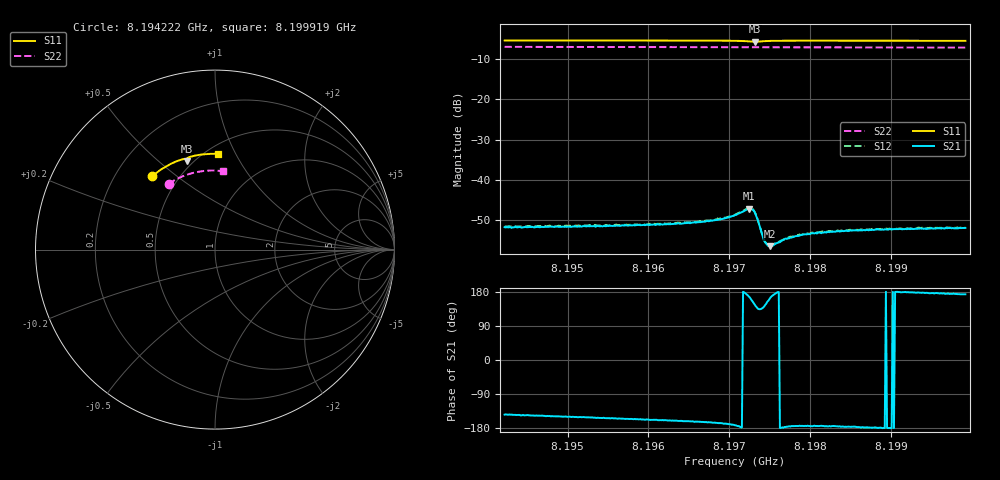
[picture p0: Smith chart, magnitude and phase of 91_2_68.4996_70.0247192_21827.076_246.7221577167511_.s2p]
#  HZ  S  RI  R  50.00
! Rohde & Schwarz Vector Network Analyzer
! Rohde-Schwarz,ZNB20-2Port,1311601062101988,3.16
! Created: UTC 3/20/2024, 4:52:39 PM
! freq[Hz]  re:S11  im:S11  re:S21  im:S21  re:S12  im:S12  re:S22  im:S22
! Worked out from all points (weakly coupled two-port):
!   401 points, 8.194222 GHz to 8.199919 GHz, reference 50 ohm
!   highest |S21| = -47.17 dB at 8.197241 GHz (marker M1); lowest = -56.5 dB at 8.197498 GHz (marker M2)
!   lowest |S11| = -5.7 dB at 8.197313 GHz (marker M3), VSWR 3.15, Z = 23.1 + j31.2 ohm
!   |S11| at or under -10 dB: nowhere
!   |S22| runs from -7.2 to -7.0 dB; largest |S21 - S12| = 0.00024
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8.1942223e9  -0.3517 0.408  -0.0021 -0.00152  -0.00219 -0.00149  -0.2583 0.3668
8.1951764e9  -0.2975 0.4482  -0.0023 -0.00127  -0.00237 -0.00121  -0.2123 0.3934
8.1961306e9  -0.2382 0.4813  -0.0026 -0.001  -0.00268 -0.000953  -0.1634 0.4146
8.1966717e9  -0.2019 0.4967  -0.00289 -0.000858  -0.003 -0.000735  -0.1345 0.4239
8.1969138e9  -0.1844 0.5024  -0.00318 -0.000748  -0.0033 -0.000614  -0.1214 0.4274
8.1970705e9  -0.1714 0.505  -0.00363 -0.000482  -0.0037 -0.000348  -0.1129 0.4296
8.1972414e9  -0.1557 0.5006  -0.00428 0.000948  -0.00431 0.00114  -0.1034 0.4314
8.1972841e9  -0.1549 0.4963  -0.0039 0.00177  -0.00392 0.00198  -0.1011 0.4317
8.1973126e9  -0.1566 0.4941  -0.00333 0.00219  -0.00325 0.00236  -0.0995 0.4319
8.1973411e9  -0.1594 0.4942  -0.00254 0.00225  -0.00248 0.00242  -0.0983 0.4323
8.1974123e9  -0.1615 0.501  -0.00147 0.00136  -0.00144 0.00145  -0.0943 0.4332
8.1974265e9  -0.1609 0.5025  -0.00137 0.00115  -0.00138 0.00126  -0.0937 0.4333
8.197455e9  -0.1593 0.5051  -0.00139 0.00086  -0.00137 0.000869  -0.0919 0.4337
8.1974977e9  -0.1562 0.5081  -0.00142 0.00048  -0.00141 0.000562  -0.0897 0.4342
8.1975262e9  -0.154 0.5097  -0.00147 0.000294  -0.00149 0.000382  -0.088 0.4345
8.1976686e9  -0.1427 0.5153  -0.0018 -4.07e-05  -0.00183 1.38e-05  -0.0802 0.4359
8.197754e9  -0.1361 0.5174  -0.00191 -0.000142  -0.00197 -8.55e-05  -0.0753 0.4366
8.1979107e9  -0.1244 0.5205  -0.00208 -0.00022  -0.00213 -0.000156  -0.0666 0.4377
8.1980246e9  -0.1162 0.5225  -0.00216 -0.000199  -0.00222 -0.000148  -0.0602 0.4385
8.1983094e9  -0.0958 0.5265  -0.00226 -0.000197  -0.00235 -8.44e-05  -0.0443 0.4398
8.1989788e9  -0.0481 0.5323  -0.00245 -2.97e-05  -0.00248 8.15e-05  -0.0064 0.4407
8.1999187e9  0.0187 0.533  -0.00251 0.000292  -0.00252 0.000405  0.0467 0.4366
